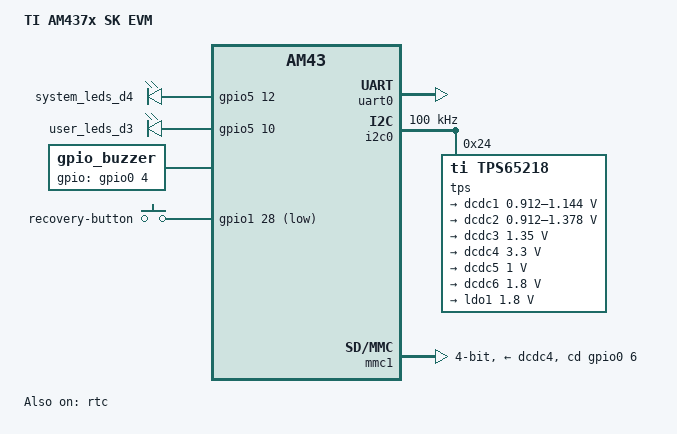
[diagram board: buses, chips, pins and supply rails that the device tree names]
/*
 * Copyright (C) 2015 Embest Technology Co., Ltd., - http://www.embest-tech.com
 *
 * This program is free software; you can redistribute it and/or modify
 * it under the terms of the GNU General Public License version 2 as
 * published by the Free Software Foundation.
 *
 * This dts is for embest own product:
 * SOM-PH8800 + BB-EPH1800
 */
/dts-v1/;

#include "am4372.dtsi"
#include <dt-bindings/pinctrl/am43xx.h>
#include <dt-bindings/pwm/pwm.h>
#include <dt-bindings/gpio/gpio.h>
#include <dt-bindings/input/input.h>

/ {
	model = "TI AM437x SK EVM";
	compatible = "ti,am437x-sk-evm","ti,am4372","ti,am43";

	aliases {

	};

	leds {
		pinctrl-names = "default";
		pinctrl-0 = <&user_leds>;

		compatible = "gpio-leds";

		led1 {
			label = "system_leds_d4";
			gpios = <&gpio5 12 GPIO_ACTIVE_HIGH>;
			linux,default-trigger = "none";
			default-state = "on";
		};

		led2 {
			label = "user_leds_d3";
			gpios = <&gpio5 10 GPIO_ACTIVE_HIGH>;
			linux,default-trigger = "none";
			default-state = "on";
		};
	};

	/* Generic GPIO buzzer device  as misc device */
	buzzer {
		pinctrl-names = "default";
		pinctrl-0 = <&buzzer_pin>;
		compatible = "gpio_buzzer";
		gpios = <&gpio0 4 GPIO_ACTIVE_HIGH>;
	};

	gpio_keys: gpio_keys {
		compatible = "gpio-keys";
		pinctrl-names = "default";
		pinctrl-0 = <&gpio_keys_pins_default>;
		#address-cells = <1>;
		#size-cells = <0>;

		switch@0 {
			label = "recovery-button";
			linux,code = <KEY_POWER>;
			gpios = <&gpio1 28 GPIO_ACTIVE_LOW>;
		};
	};
};

&cpu {
	cpu0-supply = <&dcdc2>;
};

&uart0 {
	status = "okay";
	pinctrl-names = "default";
	pinctrl-0 = <&uart0_pins>;
};

&i2c0 {
	status = "okay";
	pinctrl-names = "default";
	pinctrl-0 = <&i2c0_pins>;
	clock-frequency = <100000>;

	tps@24 {
		compatible = "ti,tps65218";
		reg = <0x24>;
		interrupts = <GIC_SPI 7 IRQ_TYPE_LEVEL_HIGH>;
		interrupt-controller;
		#interrupt-cells = <2>;

		dcdc1: regulator-dcdc1 {
			compatible = "ti,tps65218-dcdc1";
			/* VDD_CORE limits min of OPP50 and max of OPP100 */
			regulator-name = "vdd_core";
			regulator-min-microvolt = <912000>;
			regulator-max-microvolt = <1144000>;
			regulator-boot-on;
			regulator-always-on;
		};

		dcdc2: regulator-dcdc2 {
			compatible = "ti,tps65218-dcdc2";
			/* VDD_MPU limits min of OPP50 and max of OPP_NITRO */
			regulator-name = "vdd_mpu";
			regulator-min-microvolt = <912000>;
			regulator-max-microvolt = <1378000>;
			regulator-boot-on;
			regulator-always-on;
		};

		dcdc3: regulator-dcdc3 {
			compatible = "ti,tps65218-dcdc3";
			regulator-name = "vdds_ddr";
			regulator-min-microvolt = <1350000>;
			regulator-max-microvolt = <1350000>;
			regulator-boot-on;
			regulator-always-on;
			regulator-state-mem {
				regulator-on-in-suspend;
			};
			regulator-state-disk {
				regulator-off-in-suspend;
			};
		};

		dcdc4: regulator-dcdc4 {
			compatible = "ti,tps65218-dcdc4";
			regulator-name = "v3_3d";
			regulator-min-microvolt = <3300000>;
			regulator-max-microvolt = <3300000>;
			regulator-boot-on;
			regulator-always-on;
		};

		dcdc5: regulator-dcdc5 {
			compatible = "ti,tps65218-dcdc5";
			regulator-name = "v1_0bat";
			regulator-min-microvolt = <1000000>;
			regulator-max-microvolt = <1000000>;
			regulator-boot-on;
			regulator-always-on;
			regulator-state-mem {
				regulator-on-in-suspend;
			};
		};

		dcdc6: regulator-dcdc6 {
			compatible = "ti,tps65218-dcdc6";
			regulator-name = "v1_8bat";
			regulator-min-microvolt = <1800000>;
			regulator-max-microvolt = <1800000>;
			regulator-boot-on;
			regulator-always-on;
			regulator-state-mem {
				regulator-on-in-suspend;
			};
		};

		ldo1: regulator-ldo1 {
			compatible = "ti,tps65218-ldo1";
			regulator-name = "v1_8d";
			regulator-min-microvolt = <1800000>;
			regulator-max-microvolt = <1800000>;
			regulator-boot-on;
			regulator-always-on;
		};

		power-button {
			compatible = "ti,tps65218-pwrbutton";
			status = "okay";
			interrupts = <3 IRQ_TYPE_EDGE_BOTH>;
		};
	};
};

&mmc1 {
	status = "okay";
	pinctrl-names = "default", "sleep";
	pinctrl-0 = <&mmc1_pins>;
	pinctrl-1 = <&mmc1_pins_sleep>;

	vmmc-supply = <&dcdc4>;
	bus-width = <4>;
	cd-gpios = <&gpio0 6 GPIO_ACTIVE_HIGH>;
};

&gpio0 {
	status = "okay";
};
	
&gpio1 {
	status = "okay";
};

/* This is needed for LED according to LED pins */
&gpio5 {
	status = "okay";
};

&rtc {
	status = "okay";
	ext-clk-src;
};

&am43xx_pinmux {
	/* UART0 pins: rxd & txd */
	uart0_pins: pinmux_uart0_pins {
		pinctrl-single,pins = <
			0x170 (PIN_INPUT_PULLUP | MUX_MODE0)	/* uart0_rxd.uart0_rxd */
			0x174 (PIN_OUTPUT_PULLDOWN | MUX_MODE0)	/* uart0_txd.uart0_txd */
		>;
	};

	/* I2C0 pins: sda & scl */
	i2c0_pins: i2c0_pins {
		pinctrl-single,pins = <
			0x188 (PIN_INPUT | SLEWCTRL_FAST | MUX_MODE0)  /* i2c0_sda.i2c0_sda */
			0x18c (PIN_INPUT | SLEWCTRL_FAST | MUX_MODE0)  /* i2c0_scl.i2c0_scl */
		>;
	};

	/* MMC1 pins:  data0 - data3; clk; cmd; detect pin */
	mmc1_pins: pinmux_mmc1_pins {
		pinctrl-single,pins = <
			0x0f0 (PIN_INPUT | MUX_MODE0) /* mmc0_dat3.mmc0_dat3 */
			0x0f4 (PIN_INPUT | MUX_MODE0) /* mmc0_dat2.mmc0_dat2 */
			0x0f8 (PIN_INPUT | MUX_MODE0) /* mmc0_dat1.mmc0_dat1 */
			0x0fc (PIN_INPUT | MUX_MODE0) /* mmc0_dat0.mmc0_dat0 */
			0x100 (PIN_INPUT | MUX_MODE0) /* mmc0_clk.mmc0_clk */
			0x104 (PIN_INPUT | MUX_MODE0) /* mmc0_cmd.mmc0_cmd */
			0x160 (PIN_INPUT | MUX_MODE7) /* spi0_cs1.gpio0_6 */
		>;
	};

	/* MMC1 pins:  data0 - data3; clk; cmd; detect pin */
	mmc1_pins_sleep: pinmux_mmc1_pins_sleep {
		pinctrl-single,pins = <
			0x0F0 (PIN_INPUT_PULLDOWN | MUX_MODE7)
			0x0F4 (PIN_INPUT_PULLDOWN | MUX_MODE7)
			0x0F8 (PIN_INPUT_PULLDOWN | MUX_MODE7)
			0x0FC (PIN_INPUT_PULLDOWN | MUX_MODE7)
			0x100 (PIN_INPUT_PULLDOWN | MUX_MODE7)
			0x104 (PIN_INPUT_PULLDOWN | MUX_MODE7)
			0x1A0 (PIN_INPUT_PULLDOWN | MUX_MODE7)
			0x160 (PIN_INPUT_PULLDOWN | MUX_MODE7)
		>;
	};

	user_leds: user_leds {
		pinctrl-single,pins = <
			0x240 (PIN_OUTPUT | MUX_MODE7)	/* gpmc_csn3.gpio5_10 */			
			0x248 (PIN_OUTPUT | MUX_MODE7)	/* gpmc_ben1.gpio5_12 */		
		>;
	};

	buzzer_pin: buzzer_pin {
		pinctrl-single,pins = <
			0x08c (PIN_OUTPUT | MUX_MODE9)	/* gpmc_clk.gpio0_4 */
		>;
	};

	gpio_keys_pins_default: gpio_keys_pins_default {
		pinctrl-single,pins = <
			0x078 (PIN_INPUT | MUX_MODE7)	/*gpmc_be1n.gpio1_28 */
		>;
	};
};
